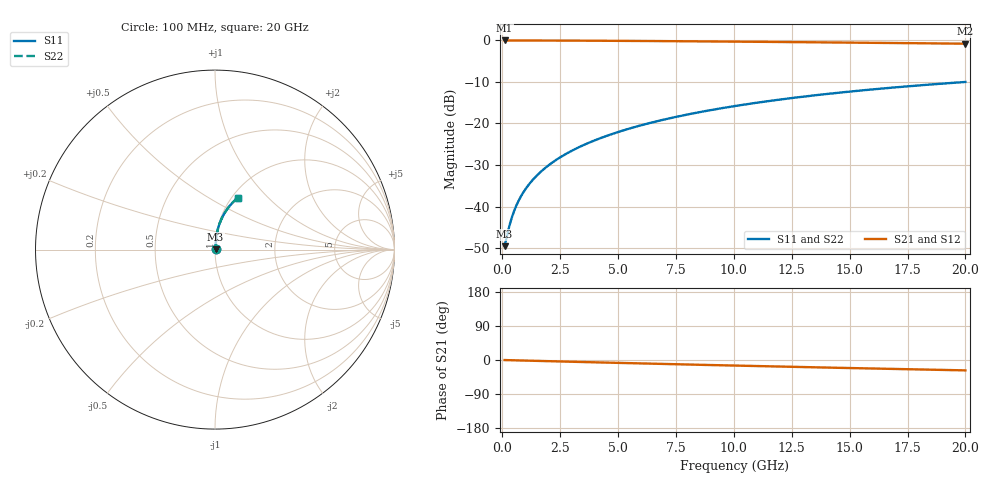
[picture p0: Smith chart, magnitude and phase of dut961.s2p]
! Touchstone file exported from HFSS 2024.1.0
!  File:  C:/UserFiles/LocalFiles/RDL_TSV_Batchsim/temp_RDL_top_961_1779938450.aedt
!  Generated:  11:23:08 AM May 28, 2026
!  Design:  RDL_top
!  Project:  temp_RDL_top_961_1779938450
!  Setup:  Setup1
!  Solution:  Sweep
! Variables:
!  dtsv = 10.80580581um
!  hbump = 3um
!  htsv = 97.01um
!  ldown = 100um
!  lrdl = 318.98um
!  p = 40
!  p1 = 53.14um
!  rhole = 1um
!  t = 450um
!  tdown = 3.915915916um
!  trdl = 2.38um
!  wdown = 15.38538539um
!  wrdl = 18.14um
# GHz S MA R 50.000000
! Terminal data exported
! Port[1] = Box2_T1
! Port[2] = Box2_T2
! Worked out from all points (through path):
!   200 points, 100 MHz to 20 GHz, reference 50 ohm
!   highest |S21| = -0.03 dB at 100 MHz (marker M1); lowest = -0.8 dB at 20 GHz (marker M2)
!   group delay of S21, straight-line fit = 3.79 ps
!   lowest |S11| = -49.6 dB at 100 MHz (marker M3), VSWR 1.01, Z = 50.3 + j0.166 ohm
!   |S11| at or under -10 dB: start of sweep to end of sweep
!   |S22| runs from -49.6 to -10.0 dB; largest |S21 - S12| = 2.6e-15
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0.1  0.00333 29.6  0.9971 -0.2  0.9971 -0.2  0.00333 29.6
! Gamma 0 0 0 0
! Port Impedance 50 0 50 0
0.3  0.00575 58.4  0.997 -0.5  0.997 -0.5  0.00575 58.4
0.4  0.007193 64.5  0.9969 -0.6  0.9969 -0.6  0.007193 64.5
0.5  0.008674 68.5  0.9967 -0.8  0.9967 -0.8  0.008674 68.5
0.6  0.01017 71.2  0.9966 -1.0  0.9966 -1.0  0.01017 71.2
0.8  0.01316 74.9  0.9964 -1.3  0.9964 -1.3  0.01316 74.9
1.1  0.01767 78.0  0.996 -1.7  0.996 -1.7  0.01767 78.0
1.5  0.02372 80.5  0.9955 -2.3  0.9955 -2.3  0.02372 80.5
1.8  0.0283 81.6  0.9951 -2.8  0.9951 -2.8  0.0283 81.6
2.1  0.0329 82.4  0.9946 -3.3  0.9946 -3.3  0.0329 82.4
2.7  0.04219 83.3  0.9934 -4.2  0.9934 -4.2  0.04219 83.3
3.5  0.05475 83.8  0.9915 -5.4  0.9915 -5.4  0.05475 83.8
4.2  0.06589 83.9  0.9895 -6.4  0.9895 -6.4  0.06589 83.9
5  0.07877 83.6  0.9869 -7.6  0.9869 -7.6  0.07877 83.6
5.9  0.09344 83.1  0.9836 -8.9  0.9836 -8.9  0.09343 83.1
6.8  0.1082 82.4  0.98 -10.2  0.98 -10.2  0.1082 82.4
8.4  0.1347 80.9  0.9731 -12.5  0.9731 -12.5  0.1347 80.9
10.1  0.1628 78.9  0.9652 -14.8  0.9652 -14.8  0.1628 78.9
11.7  0.1891 77.0  0.9572 -16.9  0.9572 -16.9  0.1891 77.0
13.4  0.2164 74.8  0.9484 -19.2  0.9484 -19.2  0.2164 74.8
16.7  0.2676 70.5  0.9304 -23.4  0.9304 -23.4  0.2676 70.5
20  0.3156 66.3  0.9114 -27.4  0.9114 -27.4  0.3156 66.3
